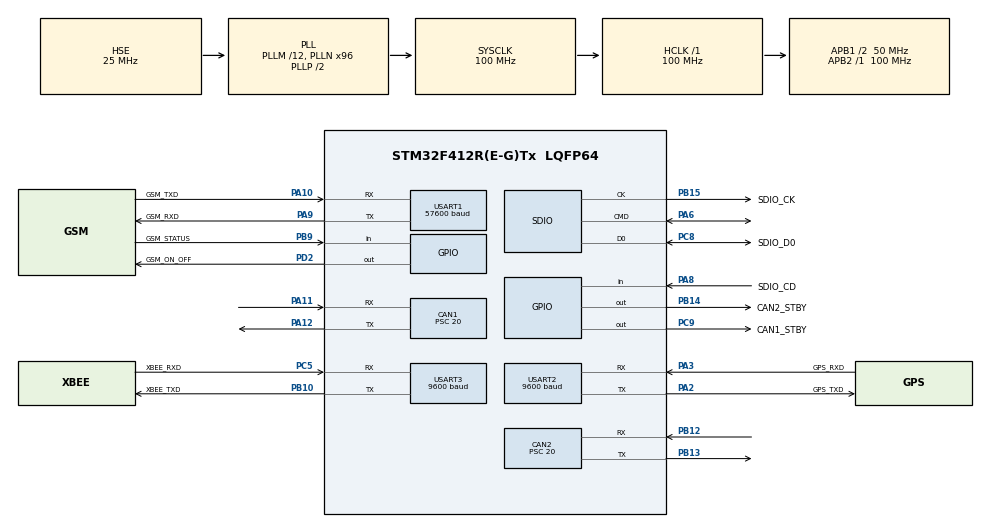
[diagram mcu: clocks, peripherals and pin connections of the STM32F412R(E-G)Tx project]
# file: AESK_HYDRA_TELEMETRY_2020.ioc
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CAN1.ABOM=ENABLE
CAN1.BS1=CAN_BS1_8TQ
CAN1.CalculateTimeQuantum=400.0
CAN1.Prescaler=20
CAN2.ABOM=ENABLE
CAN2.BS1=CAN_BS1_8TQ
CAN2.CalculateTimeQuantum=400.0
CAN2.Prescaler=20
Dma.Request0=SDIO_TX
Dma.Request1=SDIO_RX
Dma.SDIO_RX.1.Direction=DMA_PERIPH_TO_MEMORY
Dma.SDIO_RX.1.FIFOMode=DMA_FIFOMODE_ENABLE
Dma.SDIO_RX.1.FIFOThreshold=DMA_FIFO_THRESHOLD_FULL
Dma.SDIO_RX.1.Instance=DMA2_Stream6
Dma.SDIO_RX.1.MemBurst=DMA_MBURST_INC4
Dma.SDIO_RX.1.MemDataAlignment=DMA_MDATAALIGN_WORD
Dma.SDIO_RX.1.MemInc=DMA_MINC_ENABLE
Dma.SDIO_RX.1.Mode=DMA_PFCTRL
Dma.SDIO_RX.1.PeriphBurst=DMA_PBURST_INC4
Dma.SDIO_RX.1.PeriphDataAlignment=DMA_PDATAALIGN_WORD
Dma.SDIO_RX.1.PeriphInc=DMA_PINC_DISABLE
Dma.SDIO_RX.1.Priority=DMA_PRIORITY_LOW
Dma.SDIO_TX.0.Direction=DMA_MEMORY_TO_PERIPH
Dma.SDIO_TX.0.FIFOMode=DMA_FIFOMODE_ENABLE
Dma.SDIO_TX.0.FIFOThreshold=DMA_FIFO_THRESHOLD_FULL
Dma.SDIO_TX.0.Instance=DMA2_Stream3
Dma.SDIO_TX.0.MemBurst=DMA_MBURST_INC4
Dma.SDIO_TX.0.MemDataAlignment=DMA_MDATAALIGN_WORD
Dma.SDIO_TX.0.MemInc=DMA_MINC_ENABLE
Dma.SDIO_TX.0.Mode=DMA_PFCTRL
Dma.SDIO_TX.0.PeriphBurst=DMA_PBURST_INC4
Dma.SDIO_TX.0.PeriphDataAlignment=DMA_PDATAALIGN_WORD
Dma.SDIO_TX.0.PeriphInc=DMA_PINC_DISABLE
Dma.SDIO_TX.0.Priority=DMA_PRIORITY_LOW
FATFS._MAX_SS=4096
Mcu.Family=STM32F4
Mcu.Name=STM32F412R(E-G)Tx
Mcu.Package=LQFP64
NVIC.CAN1_RX0_IRQn=true\:0\:0\:false\:false\:true\:true\:true
NVIC.CAN1_RX1_IRQn=true\:0\:0\:false\:false\:true\:true\:true
NVIC.CAN2_RX0_IRQn=true\:0\:0\:false\:false\:true\:true\:true
NVIC.CAN2_RX1_IRQn=true\:0\:0\:false\:false\:true\:true\:true
NVIC.DMA2_Stream3_IRQn=true\:0\:0\:false\:false\:true\:false\:true
NVIC.DMA2_Stream6_IRQn=true\:0\:0\:false\:false\:true\:false\:true
NVIC.PriorityGroup=NVIC_PRIORITYGROUP_4
NVIC.SDIO_IRQn=true\:0\:0\:false\:false\:true\:true\:true
NVIC.USART1_IRQn=true\:1\:0\:true\:false\:true\:true\:true
NVIC.USART2_IRQn=true\:1\:0\:true\:false\:true\:true\:true
NVIC.USART3_IRQn=true\:3\:0\:true\:false\:true\:true\:true
PA10.GPIO_Label=GSM_TXD
PA10.Mode=Asynchronous
PA10.Signal=USART1_RX
PA11.Mode=Master
PA11.Signal=CAN1_RX
PA12.Mode=Master
PA12.Signal=CAN1_TX
PA13.Mode=Serial_Wire
PA13.Signal=SYS_JTMS-SWDIO
PA14.Mode=Serial_Wire
PA14.Signal=SYS_JTCK-SWCLK
PA2.GPIO_Label=GPS_TXD
PA2.Mode=Asynchronous
PA2.Signal=USART2_TX
PA3.GPIO_Label=GPS_RXD
PA3.Mode=Asynchronous
PA3.Signal=USART2_RX
PA6.Mode=SD_1_bit
PA6.Signal=SDIO_CMD
PA8.GPIO_Label=SDIO_CD
PA8.Signal=GPIO_Input
PA9.GPIO_Label=GSM_RXD
PA9.Mode=Asynchronous
PA9.Signal=USART1_TX
PB10.GPIO_Label=XBEE_TXD
PB10.Mode=Asynchronous
PB10.Signal=USART3_TX
PB12.Mode=Slave
PB12.Signal=CAN2_RX
PB13.Mode=Slave
PB13.Signal=CAN2_TX
PB14.GPIO_Label=CAN2_STBY
PB14.Signal=GPIO_Output
PB15.GPIO_Label=SDIO_CK
PB15.Mode=SD_1_bit
PB15.Signal=SDIO_CK
PB9.GPIO_Label=GSM_STATUS
PB9.GPIO_PuPd=GPIO_PULLDOWN
PB9.Signal=GPIO_Input
PC14-OSC32_IN.Mode=LSE-External-Oscillator
PC14-OSC32_IN.Signal=RCC_OSC32_IN
PC15-OSC32_OUT.Mode=LSE-External-Oscillator
PC15-OSC32_OUT.Signal=RCC_OSC32_OUT
PC5.GPIO_Label=XBEE_RXD
PC5.Mode=Asynchronous
PC5.Signal=USART3_RX
PC8.GPIO_Label=SDIO_D0
PC8.Mode=SD_1_bit
PC8.Signal=SDIO_D0
PC9.GPIO_Label=CAN1_STBY
PC9.Signal=GPIO_Output
PD2.GPIO_Label=GSM_ON_OFF
PD2.Signal=GPIO_Output
PH0\ -\ OSC_IN.Mode=HSE-External-Oscillator
PH0\ -\ OSC_IN.Signal=RCC_OSC_IN
PH1\ -\ OSC_OUT.Mode=HSE-External-Oscillator
PH1\ -\ OSC_OUT.Signal=RCC_OSC_OUT
ProjectManager.HeapSize=0x200
ProjectManager.StackSize=0x400
ProjectManager.TargetToolchain=SW4STM32
RCC.AHBFreq_Value=100000000
RCC.APB1CLKDivider=RCC_HCLK_DIV2
RCC.APB1Freq_Value=50000000
RCC.APB1TimFreq_Value=100000000
RCC.APB2Freq_Value=100000000
RCC.APB2TimFreq_Value=100000000
RCC.CortexFreq_Value=100000000
RCC.HCLKFreq_Value=100000000
RCC.PLLM=12
RCC.PLLN=96
RCC.PLLQ=4
RCC.PLLSourceVirtual=RCC_PLLSOURCE_HSE
RCC.RCC_RTC_Clock_Source=RCC_RTCCLKSOURCE_LSE
RCC.RCC_RTC_Clock_SourceVirtual=RCC_RTCCLKSOURCE_LSE
RCC.SYSCLKFreq_VALUE=100000000
RCC.SYSCLKSource=RCC_SYSCLKSOURCE_PLLCLK
RCC.USBFreq_Value=50000000
RCC.VCOOutputFreq_Value=200000000
TIM6.Period=99
TIM6.Prescaler=999
USART1.BaudRate=57600
USART1.VirtualMode=VM_ASYNC
USART2.BaudRate=9600
USART2.VirtualMode=VM_ASYNC
USART3.BaudRate=9600
USART3.VirtualMode=VM_ASYNC
VP_FATFS_VS_SDIO.Mode=SDIO
VP_RTC_VS_RTC_Activate.Mode=RTC_Enabled
VP_TIM6_VS_ClockSourceINT.Mode=Enable_Timer
board=custom

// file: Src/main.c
/* USER CODE BEGIN Header */
/**
  ******************************************************************************
  * @file           : main.c
  * @brief          : Main program body
  ******************************************************************************
  * @attention
  *
  * <h2><center>&copy; Copyright (c) 2020 STMicroelectronics.
  * All rights reserved.</center></h2>
  *
  * This software component is licensed by ST under Ultimate Liberty license
  * SLA0044, the "License"; You may not use this file except in compliance with
  * the License. You may obtain a copy of the License at:
  *                             www.st.com/SLA0044
  *
  ******************************************************************************
  */
/* USER CODE END Header */

#include "main.h"
#include "fatfs.h"

/* USER CODE BEGIN Includes */
#include "stdio.h"
#include "SIM800MQTT.h"
#include "AESK_CAN_Library.h"
#include "AESK_Gps_lib.h"
#include "TelemetryGlobalvar.h"
#include "Can_Hydra_Header.h"
#include "AESK_Data_Pack_lib.h"
#include "stdarg.h"
/* USER CODE END Includes */

CAN_HandleTypeDef hcan1;
CAN_HandleTypeDef hcan2;

RTC_HandleTypeDef hrtc;

SD_HandleTypeDef hsd;
DMA_HandleTypeDef hdma_sdio_tx;
DMA_HandleTypeDef hdma_sdio_rx;

TIM_HandleTypeDef htim6;

UART_HandleTypeDef huart1;
UART_HandleTypeDef huart2;
UART_HandleTypeDef huart3;

/* USER CODE BEGIN PV */
int SetTime = 0;
int SetDate = 0;

Time_Task_union time_task;
Xbee_Datas xbee_data;
Gsm_Datas gsm_data;
MQTTPacket_connectData connectData = MQTTPacket_connectData_initializer;
MQTTString topicString = MQTTString_initializer;
HydraDatas hydradata;
Sd_Card_Datas sd_card_data;
GPS_Handle gps_data;

RTC_TimeTypeDef rtctime;
RTC_DateTypeDef rtcdate;

RTC_TimeTypeDef sTime;
RTC_DateTypeDef sDate;
/* USER CODE END PV */

void SystemClock_Config(void);
static void MX_GPIO_Init(void);
static void MX_DMA_Init(void);
static void MX_CAN1_Init(void);
static void MX_CAN2_Init(void);
static void MX_RTC_Init(void);
static void MX_SDIO_SD_Init(void);
static void MX_TIM6_Init(void);
static void MX_USART1_UART_Init(void);
static void MX_USART2_UART_Init(void);
static void MX_USART3_UART_Init(void);
/* USER CODE BEGIN PFP */
void Gsm_Calibration(Gsm_Datas* gsm_data);
void createMQTTPackage(HydraDatas *hydradata, GPS_Handle*gps_data, uint8_t* packBuf, uint16_t *index);
void RTC_Set_Time_Date();
void vars_to_str(char *buffer, const char *format, ...);
/* USER CODE END PFP */

int main(void)
{

  /* MCU Configuration--------------------------------------------------------*/

  /* Reset of all peripherals, Initializes the Flash interface and the Systick. */
  HAL_Init();

  /* Configure the system clock */
  SystemClock_Config();

  /* Initialize all configured peripherals */
  MX_GPIO_Init();
  MX_DMA_Init();
  MX_CAN1_Init();
  MX_CAN2_Init();
  MX_RTC_Init();
  MX_SDIO_SD_Init();
  MX_TIM6_Init();
  MX_USART1_UART_Init();
  MX_USART2_UART_Init();
  MX_USART3_UART_Init();
  MX_FATFS_Init();
  /* USER CODE BEGIN 2 */
  gsm_data.gsm_uart = &huart1;
    MX_RTC_Init();
    RTC_Set_Time_Date();

    if(f_mount(&sd_card_data.myFATAFS,(TCHAR const *)SDPath, 1) == FR_OK)
    {
 	   HAL_RTC_GetTime(&hrtc, &sTime, RTC_FORMAT_BIN);
 	   HAL_RTC_GetDate(&hrtc, &sDate, RTC_FORMAT_BIN);
 	   vars_to_str(sd_card_data.path, "%d_%d_%d_%d_%d_%d_(%d).txt", sDate.Date, sDate.Month, sDate.Year, sTime.Hours, sTime.Minutes, sTime.Seconds, sd_card_data.logger_u32);
 	   sd_card_data.state = SD_Card_Detect;
    }

    if((GSM_STATUS_GPIO_Port->IDR & GSM_STATUS_Pin) == (uint32_t)GPIO_PIN_RESET)
    {
 		GSM_ON_OFF_GPIO_Port->BSRR = GSM_ON_OFF_Pin;
 	    HAL_Delay(1500);
 	    GSM_ON_OFF_GPIO_Port->BSRR = GSM_ON_OFF_Pin << 16U;
    }

    else
    {
 	   HAL_UART_Transmit(gsm_data.gsm_uart, (uint8_t*)RESET_AT_COMMAND, (uint16_t)strlen(RESET_AT_COMMAND), HAL_DELAY);
    }

    while((GSM_STATUS_GPIO_Port->IDR & GSM_STATUS_Pin) == (uint32_t)GPIO_PIN_RESET)
    {
 	   ;
    }

     HAL_UART_Receive_IT(gsm_data.gsm_uart, &gsm_data.receivegsmdata, 1);
     HAL_UART_Receive_IT(&huart3, &xbee_data.receiveData, 1);
     HAL_UART_Receive_IT(&huart2, &gps_data.uartReceiveData_u8, 1);
     HAL_TIM_Base_Start_IT(&htim6);
  /* USER CODE END 2 */

  /* Infinite loop */
  while (1)
  {

    /* USER CODE BEGIN 3 */
	  if(time_task.Time_Task.Task_60_ms == TRUE)
	  {
		  Gsm_Calibration(&gsm_data);
		  time_task.Time_Task.Task_60_ms = FALSE;
	  }

	  if(time_task.Time_Task.Task_50_ms == TRUE)
	  {
		  if(sd_card_data.state == SD_Card_Detect)
		  {

			  HAL_RTC_GetTime(&hrtc, &sTime, RTC_FORMAT_BIN);
			  HAL_RTC_GetDate(&hrtc, &sDate, RTC_FORMAT_BIN);
			  vars_to_str((char *)sd_card_data.transmitBuf, "%d$%d$%d$%.2f$%.2f$%.2f$%.1f$%.2f$%.2f$%.2f$%.2f$%d$%d$%d$%d$%d$%.1f$%.2f$%.1f$%.2f$%d$%d$%.1f$%d$%d$%.6f$%.6f$%d$%d$%d$%d$%d$%.1f$%.1f$%.1f$%.1f$%.1f$%.1f$%.1f$%.1f$%.1f$%.1f$%d$%.2f$%u$%u\n",
					  hydradata.vcu_data.wake_up_union.wake_up_u8, hydradata.vcu_data.drive_command_union.drive_command_u8, hydradata.vcu_data.set_velocity_u8,
					  hydradata.driver_data.Phase_A_Current_f32, hydradata.driver_data.Phase_B_Current_f32, hydradata.driver_data.Dc_Bus_Current_f32,
					  hydradata.driver_data.Dc_Bus_voltage_f32, hydradata.driver_data.Id_f32, hydradata.driver_data.Iq_f32, hydradata.driver_data.Vd_f32, hydradata.driver_data.Vq_f32,
					  hydradata.driver_data.drive_status_union.drive_status_u8, hydradata.driver_data.driver_error_union.driver_error_u8, hydradata.driver_data.Odometer_u32,
					  hydradata.driver_data.Motor_Temperature_u8, hydradata.driver_data.actual_velocity_u8, hydradata.bms_data.Bat_Voltage_f32,
					  hydradata.bms_data.Bat_Current_f32, hydradata.bms_data.Bat_Cons_f32, hydradata.bms_data.Soc_f32, hydradata.bms_data.bms_error.bms_error_u8,
					  hydradata.bms_data.dc_bus_state.dc_bus_state_u8, hydradata.bms_data.Worst_Cell_Voltage_f32, hydradata.bms_data.Worst_Cell_Address_u8,
					  hydradata.bms_data.Temperature_u8, gps_data.latitude_f32, gps_data.longtitude_f32, gps_data.speed_u8, gps_data.satellite_number_u8, gps_data.gpsEfficiency_u8,
					  gps_data.gps_errorhandler.trueData_u32, gps_data.gps_errorhandler.checksumError_u32, gps_data.gps_errorhandler.validDataError_u32, hydradata.ems_datas.Bat_Current_f32,
					  hydradata.ems_datas.FC_Current_f32, hydradata.ems_datas.Out_Current_f32, hydradata.ems_datas.Bat_Voltage_f32, hydradata.ems_datas.FC_Voltage_f32, hydradata.ems_datas.Out_Voltage_f32,
					  hydradata.ems_datas.Bat_Cons_f32, hydradata.ems_datas.FC_Cons_f32, hydradata.ems_datas.FC_Lt_Cons_f32, hydradata.ems_datas.Out_Cons_f32, hydradata.ems_datas.Penalty_s8,
					  hydradata.ems_datas.Bat_Soc_f32, hydradata.ems_datas.Temperature_u8, hydradata.ems_datas.ems_state.ems_error_u8);
			  vars_to_str((char *)sd_card_data.total_log, "%d:%d:%d$", sTime.Hours, sTime.Minutes, sTime.Seconds);
			  strcat(sd_card_data.total_log, (const char*)sd_card_data.transmitBuf);
			  sd_card_data.result = f_open(&sd_card_data.myFile, sd_card_data.path, FA_WRITE | FA_OPEN_APPEND | FA_OPEN_EXISTING | FA_OPEN_ALWAYS);
			  f_write(&sd_card_data.myFile, sd_card_data.total_log, strlen(sd_card_data.total_log), (void*)&sd_card_data.writtenbyte);
			  if((sd_card_data.writtenbyte != 0) && (sd_card_data.result == FR_OK))
			  {
				  f_close(&sd_card_data.myFile);
				  SetTime++;
			  }

			  else
			  {
				  if(f_mount(&sd_card_data.myFATAFS,(TCHAR const *)SDPath, 1) == FR_OK)
				  {
					  sd_card_data.logger_u32++;
					  HAL_RTC_GetTime(&hrtc, &sTime, RTC_FORMAT_BIN);
					  HAL_RTC_GetDate(&hrtc, &sDate, RTC_FORMAT_BIN);
					  vars_to_str(sd_card_data.path, "%d_%d_%d_(%d).txt", sDate.Date, sDate.Month, sDate.Year, sd_card_data.logger_u32);
					  sd_card_data.state = SD_Card_Detect;
				  }
			  }
			}
	 		time_task.Time_Task.Task_50_ms = FALSE;
	 }
  }
  /* USER CODE END 3 */
}

void SystemClock_Config(void)
{
  RCC_OscInitTypeDef RCC_OscInitStruct = {0};
  RCC_ClkInitTypeDef RCC_ClkInitStruct = {0};
  RCC_PeriphCLKInitTypeDef PeriphClkInitStruct = {0};

  /** Configure the main internal regulator output voltage
  */
  __HAL_RCC_PWR_CLK_ENABLE();
  __HAL_PWR_VOLTAGESCALING_CONFIG(PWR_REGULATOR_VOLTAGE_SCALE1);
  /** Initializes the CPU, AHB and APB busses clocks
  */
  RCC_OscInitStruct.OscillatorType = RCC_OSCILLATORTYPE_HSE|RCC_OSCILLATORTYPE_LSE;
  RCC_OscInitStruct.HSEState = RCC_HSE_ON;
  RCC_OscInitStruct.LSEState = RCC_LSE_ON;
  RCC_OscInitStruct.PLL.PLLState = RCC_PLL_ON;
  RCC_OscInitStruct.PLL.PLLSource = RCC_PLLSOURCE_HSE;
  RCC_OscInitStruct.PLL.PLLM = 12;
  RCC_OscInitStruct.PLL.PLLN = 96;
  RCC_OscInitStruct.PLL.PLLP = RCC_PLLP_DIV2;
  RCC_OscInitStruct.PLL.PLLQ = 4;
  RCC_OscInitStruct.PLL.PLLR = 2;
  if (HAL_RCC_OscConfig(&RCC_OscInitStruct) != HAL_OK)
  {
    Error_Handler();
  }
  /** Initializes the CPU, AHB and APB busses clocks
  */
  RCC_ClkInitStruct.ClockType = RCC_CLOCKTYPE_HCLK|RCC_CLOCKTYPE_SYSCLK
                              |RCC_CLOCKTYPE_PCLK1|RCC_CLOCKTYPE_PCLK2;
  RCC_ClkInitStruct.SYSCLKSource = RCC_SYSCLKSOURCE_PLLCLK;
  RCC_ClkInitStruct.AHBCLKDivider = RCC_SYSCLK_DIV1;
  RCC_ClkInitStruct.APB1CLKDivider = RCC_HCLK_DIV2;
  RCC_ClkInitStruct.APB2CLKDivider = RCC_HCLK_DIV1;

  if (HAL_RCC_ClockConfig(&RCC_ClkInitStruct, FLASH_LATENCY_3) != HAL_OK)
  {
    Error_Handler();
  }
  PeriphClkInitStruct.PeriphClockSelection = RCC_PERIPHCLK_RTC|RCC_PERIPHCLK_SDIO
                              |RCC_PERIPHCLK_CLK48;
  PeriphClkInitStruct.RTCClockSelection = RCC_RTCCLKSOURCE_LSE;
  PeriphClkInitStruct.Clk48ClockSelection = RCC_CLK48CLKSOURCE_PLLQ;
  PeriphClkInitStruct.SdioClockSelection = RCC_SDIOCLKSOURCE_CLK48;
  if (HAL_RCCEx_PeriphCLKConfig(&PeriphClkInitStruct) != HAL_OK)
  {
    Error_Handler();
  }
}

static void MX_CAN1_Init(void)
{

  hcan1.Instance = CAN1;
  hcan1.Init.Prescaler = 20;
  hcan1.Init.Mode = CAN_MODE_NORMAL;
  hcan1.Init.SyncJumpWidth = CAN_SJW_1TQ;
  hcan1.Init.TimeSeg1 = CAN_BS1_8TQ;
  hcan1.Init.TimeSeg2 = CAN_BS2_1TQ;
  hcan1.Init.TimeTriggeredMode = DISABLE;
  hcan1.Init.AutoBusOff = ENABLE;
  hcan1.Init.AutoWakeUp = DISABLE;
  hcan1.Init.AutoRetransmission = DISABLE;
  hcan1.Init.ReceiveFifoLocked = DISABLE;
  hcan1.Init.TransmitFifoPriority = DISABLE;
  if (HAL_CAN_Init(&hcan1) != HAL_OK)
  {
    Error_Handler();
  }

}

static void MX_CAN2_Init(void)
{

  hcan2.Instance = CAN2;
  hcan2.Init.Prescaler = 20;
  hcan2.Init.Mode = CAN_MODE_NORMAL;
  hcan2.Init.SyncJumpWidth = CAN_SJW_1TQ;
  hcan2.Init.TimeSeg1 = CAN_BS1_8TQ;
  hcan2.Init.TimeSeg2 = CAN_BS2_1TQ;
  hcan2.Init.TimeTriggeredMode = DISABLE;
  hcan2.Init.AutoBusOff = ENABLE;
  hcan2.Init.AutoWakeUp = DISABLE;
  hcan2.Init.AutoRetransmission = DISABLE;
  hcan2.Init.ReceiveFifoLocked = DISABLE;
  hcan2.Init.TransmitFifoPriority = DISABLE;
  if (HAL_CAN_Init(&hcan2) != HAL_OK)
  {
    Error_Handler();
  }

}

static void MX_RTC_Init(void)
{

  /** Initialize RTC Only
  */
  hrtc.Instance = RTC;
  hrtc.Init.HourFormat = RTC_HOURFORMAT_24;
  hrtc.Init.AsynchPrediv = 127;
  hrtc.Init.SynchPrediv = 255;
  hrtc.Init.OutPut = RTC_OUTPUT_DISABLE;
  hrtc.Init.OutPutPolarity = RTC_OUTPUT_POLARITY_HIGH;
  hrtc.Init.OutPutType = RTC_OUTPUT_TYPE_OPENDRAIN;
  if (HAL_RTC_Init(&hrtc) != HAL_OK)
  {
    Error_Handler();
  }

}

static void MX_SDIO_SD_Init(void)
{

  hsd.Instance = SDIO;
  hsd.Init.ClockEdge = SDIO_CLOCK_EDGE_RISING;
  hsd.Init.ClockBypass = SDIO_CLOCK_BYPASS_DISABLE;
  hsd.Init.ClockPowerSave = SDIO_CLOCK_POWER_SAVE_DISABLE;
  hsd.Init.BusWide = SDIO_BUS_WIDE_1B;
  hsd.Init.HardwareFlowControl = SDIO_HARDWARE_FLOW_CONTROL_DISABLE;
  hsd.Init.ClockDiv = 0;

}

static void MX_TIM6_Init(void)
{

  TIM_MasterConfigTypeDef sMasterConfig = {0};

  htim6.Instance = TIM6;
  htim6.Init.Prescaler = 999;
  htim6.Init.CounterMode = TIM_COUNTERMODE_UP;
  htim6.Init.Period = 99;
  htim6.Init.AutoReloadPreload = TIM_AUTORELOAD_PRELOAD_DISABLE;
  if (HAL_TIM_Base_Init(&htim6) != HAL_OK)
  {
    Error_Handler();
  }
  sMasterConfig.MasterOutputTrigger = TIM_TRGO_RESET;
  sMasterConfig.MasterSlaveMode = TIM_MASTERSLAVEMODE_DISABLE;
  if (HAL_TIMEx_MasterConfigSynchronization(&htim6, &sMasterConfig) != HAL_OK)
  {
    Error_Handler();
  }

}

static void MX_USART1_UART_Init(void)
{

  huart1.Instance = USART1;
  huart1.Init.BaudRate = 57600;
  huart1.Init.WordLength = UART_WORDLENGTH_8B;
  huart1.Init.StopBits = UART_STOPBITS_1;
  huart1.Init.Parity = UART_PARITY_NONE;
  huart1.Init.Mode = UART_MODE_TX_RX;
  huart1.Init.HwFlowCtl = UART_HWCONTROL_NONE;
  huart1.Init.OverSampling = UART_OVERSAMPLING_16;
  if (HAL_UART_Init(&huart1) != HAL_OK)
  {
    Error_Handler();
  }

}

static void MX_USART2_UART_Init(void)
{

  huart2.Instance = USART2;
  huart2.Init.BaudRate = 9600;
  huart2.Init.WordLength = UART_WORDLENGTH_8B;
  huart2.Init.StopBits = UART_STOPBITS_1;
  huart2.Init.Parity = UART_PARITY_NONE;
  huart2.Init.Mode = UART_MODE_TX_RX;
  huart2.Init.HwFlowCtl = UART_HWCONTROL_NONE;
  huart2.Init.OverSampling = UART_OVERSAMPLING_16;
  if (HAL_UART_Init(&huart2) != HAL_OK)
  {
    Error_Handler();
  }

}

static void MX_USART3_UART_Init(void)
{

  huart3.Instance = USART3;
  huart3.Init.BaudRate = 9600;
  huart3.Init.WordLength = UART_WORDLENGTH_8B;
  huart3.Init.StopBits = UART_STOPBITS_1;
  huart3.Init.Parity = UART_PARITY_NONE;
  huart3.Init.Mode = UART_MODE_TX_RX;
  huart3.Init.HwFlowCtl = UART_HWCONTROL_NONE;
  huart3.Init.OverSampling = UART_OVERSAMPLING_16;
  if (HAL_UART_Init(&huart3) != HAL_OK)
  {
    Error_Handler();
  }

}

static void MX_DMA_Init(void)
{

  /* DMA controller clock enable */
  __HAL_RCC_DMA2_CLK_ENABLE();

  /* DMA interrupt init */
  /* DMA2_Stream3_IRQn interrupt configuration */
  HAL_NVIC_SetPriority(DMA2_Stream3_IRQn, 0, 0);
  HAL_NVIC_EnableIRQ(DMA2_Stream3_IRQn);
  /* DMA2_Stream6_IRQn interrupt configuration */
  HAL_NVIC_SetPriority(DMA2_Stream6_IRQn, 0, 0);
  HAL_NVIC_EnableIRQ(DMA2_Stream6_IRQn);

}

static void MX_GPIO_Init(void)
{
  GPIO_InitTypeDef GPIO_InitStruct = {0};

  /* GPIO Ports Clock Enable */
  __HAL_RCC_GPIOC_CLK_ENABLE();
  __HAL_RCC_GPIOH_CLK_ENABLE();
  __HAL_RCC_GPIOA_CLK_ENABLE();
  __HAL_RCC_GPIOB_CLK_ENABLE();
  __HAL_RCC_GPIOD_CLK_ENABLE();

  /*Configure GPIO pin Output Level */
  HAL_GPIO_WritePin(CAN2_STBY_GPIO_Port, CAN2_STBY_Pin, GPIO_PIN_RESET);

  /*Configure GPIO pin Output Level */
  HAL_GPIO_WritePin(CAN1_STBY_GPIO_Port, CAN1_STBY_Pin, GPIO_PIN_RESET);

  /*Configure GPIO pin Output Level */
  HAL_GPIO_WritePin(GSM_ON_OFF_GPIO_Port, GSM_ON_OFF_Pin, GPIO_PIN_RESET);

  /*Configure GPIO pin : CAN2_STBY_Pin */
  GPIO_InitStruct.Pin = CAN2_STBY_Pin;
  GPIO_InitStruct.Mode = GPIO_MODE_OUTPUT_PP;
  GPIO_InitStruct.Pull = GPIO_NOPULL;
  GPIO_InitStruct.Speed = GPIO_SPEED_FREQ_LOW;
  HAL_GPIO_Init(CAN2_STBY_GPIO_Port, &GPIO_InitStruct);

  /*Configure GPIO pin : CAN1_STBY_Pin */
  GPIO_InitStruct.Pin = CAN1_STBY_Pin;
  GPIO_InitStruct.Mode = GPIO_MODE_OUTPUT_PP;
  GPIO_InitStruct.Pull = GPIO_NOPULL;
  GPIO_InitStruct.Speed = GPIO_SPEED_FREQ_LOW;
  HAL_GPIO_Init(CAN1_STBY_GPIO_Port, &GPIO_InitStruct);

  /*Configure GPIO pin : SDIO_CD_Pin */
  GPIO_InitStruct.Pin = SDIO_CD_Pin;
  GPIO_InitStruct.Mode = GPIO_MODE_INPUT;
  GPIO_InitStruct.Pull = GPIO_NOPULL;
  HAL_GPIO_Init(SDIO_CD_GPIO_Port, &GPIO_InitStruct);

  /*Configure GPIO pin : GSM_ON_OFF_Pin */
  GPIO_InitStruct.Pin = GSM_ON_OFF_Pin;
  GPIO_InitStruct.Mode = GPIO_MODE_OUTPUT_PP;
  GPIO_InitStruct.Pull = GPIO_NOPULL;
  GPIO_InitStruct.Speed = GPIO_SPEED_FREQ_LOW;
  HAL_GPIO_Init(GSM_ON_OFF_GPIO_Port, &GPIO_InitStruct);

  /*Configure GPIO pin : GSM_STATUS_Pin */
  GPIO_InitStruct.Pin = GSM_STATUS_Pin;
  GPIO_InitStruct.Mode = GPIO_MODE_INPUT;
  GPIO_InitStruct.Pull = GPIO_PULLDOWN;
  HAL_GPIO_Init(GSM_STATUS_GPIO_Port, &GPIO_InitStruct);

}

/* USER CODE BEGIN 4 */
void HAL_TIM_PeriodElapsedCallback(TIM_HandleTypeDef *htim)
{
	static uint32_t  task_counter_50_ms = 0;
	static uint32_t task_counter_60_ms = 0;
	task_counter_60_ms++;
	task_counter_50_ms++;

	if(task_counter_50_ms == 50)
	{
		time_task.Time_Task.Task_50_ms = TRUE;
		task_counter_50_ms = 0;
	}

	if(task_counter_60_ms == 60)
	{
		time_task.Time_Task.Task_60_ms = TRUE;
		task_counter_60_ms = 0;
	}
}

void HAL_UART_RxCpltCallback(UART_HandleTypeDef *huart)
{
	switch((uint32_t)huart->Instance)
	{

		case (uint32_t)USART1 :
		{
			static uint8_t cifsr_control = 0;

			gsm_data.gsmreceivebuffer[gsm_data.gsmreceivebuffer_index++] = gsm_data.receivegsmdata;
			if(gsm_data.gsm_state_next_index != CreateMQTTPublishPack && (strstr((const char *)gsm_data.gsmreceivebuffer, gsm_data.at_response) != NULL))
			{
				gsm_data.gsm_state_current_index = gsm_data.gsm_state_next_index;
				memset(gsm_data.gsmreceivebuffer, 0, sizeof(gsm_data.gsmreceivebuffer));
				gsm_data.gsmreceivebuffer_index = 0;
			}

			else if(gsm_data.gsm_state_next_index == CreateMQTTPublishPack && (strstr((const char *)gsm_data.gsmreceivebuffer, "SE") != NULL))
			{
				gsm_data.gsm_state_current_index = gsm_data.gsm_state_next_index;
				memset(gsm_data.gsmreceivebuffer, 0, sizeof(gsm_data.gsmreceivebuffer));
				gsm_data.gsmreceivebuffer_index = 0;
			}

			else if(strstr((const char *)gsm_data.gsmreceivebuffer, (const char *)"ERROR") != NULL)
			{
				gsm_data.gsm_state_current_index = gsm_data.gsm_state_next_index - 1;
				memset(gsm_data.gsmreceivebuffer, 0, sizeof(gsm_data.gsmreceivebuffer));
				gsm_data.gsmreceivebuffer_index = 0;
			}

			if(gsm_data.receivegsmdata =='.')
			{
				cifsr_control++;
			}

			if(cifsr_control == 3 && gsm_data.receivegsmdata == '\n')
			{
				gsm_data.gsm_state_current_index = gsm_data.gsm_state_next_index;
				memset(gsm_data.gsmreceivebuffer, 0, sizeof(gsm_data.gsmreceivebuffer));
				gsm_data.gsmreceivebuffer_index = 0;
				cifsr_control = 0;
			}

			if(gsm_data.gsm_state_next_index == SendMQTTPublishPack && gsm_data.receivegsmdata == '>')
			{

				gsm_data.gsm_state_current_index = gsm_data.gsm_state_next_index;
				memset(gsm_data.gsmreceivebuffer, 0, sizeof(gsm_data.gsmreceivebuffer));
				gsm_data.gsmreceivebuffer_index = 0;
			}

			if(gsm_data.gsmreceivebuffer_index == 31)
			{
				memset(gsm_data.gsmreceivebuffer, 0, sizeof(gsm_data.gsmreceivebuffer));
				gsm_data.gsmreceivebuffer_index = 0;
			}
			HAL_UART_Receive_IT(gsm_data.gsm_uart, &gsm_data.receivegsmdata, 1);
			break;
		}

		case (uint32_t)USART2 :
		{
			GPS_Control(&gps_data);
			HAL_UART_Receive_IT(&huart2, &gps_data.uartReceiveData_u8, 1);
			break;
		}

		case (uint32_t)USART3 :
		{
			switch(xbee_data.states)
			{
				case ID_Control :
				{
					if(xbee_data.receiveData == FIRST_CONTROL_BYTE)
					{
						xbee_data.states = Reset_Data_Control;
					}
				break;
				}
				case Reset_Data_Control:
				{
					if(xbee_data.receiveData == SECOND_CONTROL_BYTE)
					{
						xbee_data.states = End_Communication_Control_1;
					}
					else
					{
						xbee_data.states = Reset_Data_Control;
					}
					break;
				}
				case End_Communication_Control_1:
				{
					if(xbee_data.receiveData == FIRST_COMMAND)
					{
						xbee_data.states = End_Communication_Control_2;
					}
					else
					{
						xbee_data.states = Reset_Data_Control;
					}
					break;
				}

				case End_Communication_Control_2:
				{
					if(xbee_data.receiveData == SECOND_COMMAND)
					{
						gsm_data.gsm_state_current_index = GsmOnOffSet;
					}
					else
					{
						xbee_data.states = Reset_Data_Control;
					}
					break;
				}
			}
			HAL_UART_Receive_IT(&huart3, &xbee_data.receiveData, 1);
			break;
		}
	}
}

void Gsm_Calibration(Gsm_Datas* gsm_data)
{
	switch(gsm_data->gsm_state_current_index)
	{
		case SerialCommunicationControl :
		{
			SendATCommand(gsm_data, "AT\r\n", "OK\r\n");
			gsm_data->gsm_state_next_index = SerialEchoOff;
			gsm_data->gsm_state_current_index = SerialCommunicationControl;
			break;
		}

		case SerialEchoOff :
		{
			SendATCommand(gsm_data, "ATE0\r\n", "OK\r\n");
			gsm_data->gsm_state_next_index = DeactiveGPRS;
			gsm_data->gsm_state_current_index = EmptyState;
			break;
		}

		case DeactiveGPRS :
		{
			SendATCommand(gsm_data, "AT+CIPSHUT\r\n", "SHUT OK\r\n");
			gsm_data->gsm_state_next_index = ConnectGPRS;
			gsm_data->gsm_state_current_index = EmptyState;
			break;
		}

		case ConnectGPRS :
		{
			SendATCommand(gsm_data, "AT+CGATT=1\r\n", "OK\r\n");
			gsm_data->gsm_state_next_index = SetGPRSProfile;
			gsm_data->gsm_state_current_index = EmptyState;
			break;
		}

		case SetGPRSProfile :
		{
			SendATCommand(gsm_data, "AT+CSTT=\"internet\",\"\",\"\"\r\n", "OK\r\n");
			gsm_data->gsm_state_next_index = BringUPGPRS;
			gsm_data->gsm_state_current_index = EmptyState;
			break;
		}

		case BringUPGPRS :
		{
			SendATCommand(gsm_data, "AT+CIICR\r\n", "OK\r\n");
			gsm_data->gsm_state_next_index = LearnSIM800IP;
			gsm_data->gsm_state_current_index = EmptyState;
			break;
		}

		case LearnSIM800IP :
		{
			SendATCommand(gsm_data, "AT+CIFSR\r\n", "OK\r\n");
			gsm_data->gsm_state_next_index = StartTCPConnect;
			gsm_data->gsm_state_current_index = EmptyState;
			break;
		}

		case StartTCPConnect :
		{
			SendATCommand(gsm_data, "AT+CIPSTART=\"TCP\",\"157.230.29.63\",\"1883\"\r\n", "CONNECT OK\r\n");
			gsm_data->gsm_state_next_index = CreateMQTTConnectPack;
			gsm_data->gsm_state_current_index = EmptyState;
			break;
		}

		case CreateMQTTConnectPack :
		{
			char atcommand[255];
			connectData.username.cstring = MQTT_USERNAME;
			connectData.password.cstring = MQTT_PASSWORd;
			connectData.clientID.cstring = MQTT_CLIENT_ID;
			connectData.keepAliveInterval = 60;
			connectData.cleansession = SendMQTTConnectPack;
			gsm_data->len =  MQTTSerialize_connect((unsigned char *)gsm_data->gsmconnectpackage, (int)sizeof(gsm_data->gsmconnectpackage),&connectData);
			sprintf(atcommand,(const char*)"AT+CIPSEND=%d\r\n", gsm_data->len);
			SendATCommand(gsm_data, atcommand, "\r\n>");
			gsm_data->gsm_state_next_index = SendMQTTConnectPack;
			gsm_data->gsm_state_current_index = EmptyState;
			break;
		}

		case SendMQTTConnectPack :
		{
			gsm_data->at_response = "SEND OK\r\n";
			HAL_UART_Transmit(gsm_data->gsm_uart, (uint8_t *)gsm_data->gsmconnectpackage, gsm_data->len, HAL_DELAY);
			gsm_data->gsm_state_next_index = CreateMQTTPublishPack;
			gsm_data->gsm_state_current_index = EmptyState;
			break;
		}

		case CreateMQTTPublishPack :
		{

		    topicString.cstring = MQTT_TOPIC;
		    char atcommand[255];
		    uint16_t index = 0;
		    createMQTTPackage(&hydradata, &gps_data, gsm_data->MQTTPackage, &index);
		    gsm_data->mqtt_len = MQTTSerialize_publish(gsm_data->gsmpublishpackage, (int)sizeof(gsm_data->gsmpublishpackage), 0, 0, 0, 0, topicString, gsm_data->MQTTPackage, index);
			sprintf(atcommand,(const char*)"AT+CIPSEND=%d\r\n", gsm_data->mqtt_len);
			SendATCommand(gsm_data, atcommand, ">");
			gsm_data->gsm_state_next_index = SendMQTTPublishPack;
			gsm_data->gsm_state_current_index = EmptyState;
			break;
		}

		case SendMQTTPublishPack :
		{

			HAL_UART_Transmit(gsm_data->gsm_uart, (uint8_t *)gsm_data->gsmpublishpackage, gsm_data->mqtt_len, HAL_DELAY);
			gsm_data->gsm_state_current_index = CreateMQTTPublishPack;
			gsm_data->gsm_state_next_index = EmptyState;
			break;
		}

		case GsmOnOffSet :
		{
			HAL_UART_Transmit(gsm_data->gsm_uart, (uint8_t*)RESET_AT_COMMAND, (uint16_t)strlen(RESET_AT_COMMAND), HAL_DELAY);
			gsm_data->gsm_state_current_index = Gsm1500msWait;
			break;
		}

		case Gsm1500msWait :
		{
			if((GSM_STATUS_GPIO_Port->IDR & GSM_STATUS_Pin) == (uint32_t)GPIO_PIN_RESET)
			{
				gsm_data->gsm_state_current_index = Gsm1500msWait;
			}

			else
			{
				gsm_data->gsm_state_current_index = SerialCommunicationControl;
			}
			break;
		}
	}
}

void createMQTTPackage(HydraDatas *hydradata, GPS_Handle*gps_data, uint8_t* packBuf, uint16_t *index)
{
	AESK_UINT8toUINT8CODE(&hydradata->vcu_data.wake_up_union.wake_up_u8, packBuf, index);
	AESK_UINT8toUINT8CODE(&hydradata->vcu_data.drive_command_union.drive_command_u8, packBuf, index);
	AESK_UINT8toUINT8CODE(&hydradata->vcu_data.set_velocity_u8, packBuf, index);
	int16_t phase_a_current_s16 = (int16_t)(hydradata->driver_data.Phase_A_Current_f32 * FLOAT_CONVERTER_2);
	int16_t phase_b_current_s16 = (int16_t)(hydradata->driver_data.Phase_B_Current_f32 * FLOAT_CONVERTER_2);
	uint16_t dc_bus_voltage_u16 = (uint16_t)(hydradata->driver_data.Dc_Bus_voltage_f32 * FLOAT_CONVERTER_1);
	int16_t dc_bus_current_s16 = (int16_t)(hydradata->driver_data.Dc_Bus_Current_f32 * FLOAT_CONVERTER_2);
	int16_t id_f32 = (int16_t)(hydradata->driver_data.Id_f32 * FLOAT_CONVERTER_2);
	int16_t iq_f32 = (int16_t)(hydradata->driver_data.Iq_f32 * FLOAT_CONVERTER_2);
	int16_t vd_f32 = (int16_t)(hydradata->driver_data.Vd_f32 * FLOAT_CONVERTER_2);
	int16_t vq_f32 = (int16_t)(hydradata->driver_data.Vq_f32 * FLOAT_CONVERTER_2);
	AESK_INT16toUINT8_LE(&phase_a_current_s16, packBuf, index);
	AESK_INT16toUINT8_LE(&phase_b_current_s16, packBuf, index);
	AESK_INT16toUINT8_LE(&dc_bus_current_s16, packBuf, index);
	AESK_UINT16toUINT8_LE(&dc_bus_voltage_u16, packBuf, index);
	AESK_INT16toUINT8_LE(&id_f32, packBuf, index);
	AESK_INT16toUINT8_LE(&iq_f32, packBuf, index);
	AESK_INT16toUINT8_LE(&vd_f32, packBuf, index);
	AESK_INT16toUINT8_LE(&vq_f32, packBuf, index);
	AESK_UINT8toUINT8CODE(&(hydradata->driver_data.drive_status_union.drive_status_u8), packBuf, index);
	AESK_UINT8toUINT8CODE(&(hydradata->driver_data.driver_error_union.driver_error_u8), packBuf, index);
	AESK_UINT32toUINT8_LE(&(hydradata->driver_data.Odometer_u32), packBuf, index);
	AESK_UINT8toUINT8CODE(&(hydradata->driver_data.Motor_Temperature_u8), packBuf, index);
	AESK_UINT8toUINT8CODE(&(hydradata->driver_data.actual_velocity_u8), packBuf, index);
	uint16_t bat_volt_u16 = (uint16_t)(hydradata->bms_data.Bat_Voltage_f32 * FLOAT_CONVERTER_1);
	int16_t  bat_cur_s16 = (int16_t)(hydradata->bms_data.Bat_Current_f32 * FLOAT_CONVERTER_2);
	uint16_t bat_cons_u16 = (uint16_t)(hydradata->bms_data.Bat_Cons_f32 * FLOAT_CONVERTER_1);
	uint16_t soc_u16 = (uint16_t)(hydradata->bms_data.Soc_f32 * FLOAT_CONVERTER_2);
	uint16_t worst_cell_voltage_u16 = (uint16_t)(hydradata->bms_data.Worst_Cell_Voltage_f32 * FLOAT_CONVERTER_1);
	AESK_UINT16toUINT8_LE(&bat_volt_u16, packBuf, index);
	AESK_INT16toUINT8_LE(&bat_cur_s16, packBuf, index);
	AESK_UINT16toUINT8_LE(&bat_cons_u16, packBuf, index);
	AESK_UINT16toUINT8_LE(&soc_u16, packBuf, index);
	AESK_UINT8toUINT8CODE(&(hydradata->bms_data.bms_error.bms_error_u8), packBuf, index);
	AESK_UINT8toUINT8CODE(&(hydradata->bms_data.dc_bus_state.dc_bus_state_u8), packBuf, index);
	AESK_UINT16toUINT8_LE(&worst_cell_voltage_u16, packBuf, index);
	AESK_UINT8toUINT8CODE(&(hydradata->bms_data.Worst_Cell_Address_u8), packBuf, index);
	AESK_UINT8toUINT8CODE(&(hydradata->bms_data.Temperature_u8), packBuf, index);
	AESK_FLOAT32toUINT8_LE(&(gps_data->latitude_f32), packBuf, index);
	AESK_FLOAT32toUINT8_LE(&(gps_data->longtitude_f32), packBuf, index);
	AESK_UINT8toUINT8CODE(&(gps_data->speed_u8), packBuf, index);
	AESK_UINT8toUINT8CODE(&(gps_data->satellite_number_u8), packBuf, index);
	AESK_UINT8toUINT8CODE(&(gps_data->gpsEfficiency_u8), packBuf, index);
	int16_t   bat_current_s16 = (int16_t)(hydradata->ems_datas.Bat_Current_f32 * FLOAT_CONVERTER_1);
	int16_t   fc_current_s16 = (int16_t)(hydradata->ems_datas.FC_Current_f32 * FLOAT_CONVERTER_1);
	int16_t   out_current_s16 = (int16_t)(hydradata->ems_datas.Out_Current_f32 * FLOAT_CONVERTER_1);
	uint16_t  bat_voltage_u16 = (uint16_t)(hydradata->ems_datas.Bat_Voltage_f32 * FLOAT_CONVERTER_1);
	uint16_t  fc_voltage_u16 = (uint16_t)(hydradata->ems_datas.FC_Voltage_f32 * FLOAT_CONVERTER_1);
	uint16_t  out_voltage_u16 = (uint16_t)(hydradata->ems_datas.Out_Voltage_f32 * FLOAT_CONVERTER_1);
	uint16_t  bat_cons_ems_u16 = (uint16_t)(hydradata->ems_datas.Bat_Cons_f32 * FLOAT_CONVERTER_1);
	uint16_t  fc_cons_u16 = (uint16_t)(hydradata->ems_datas.FC_Cons_f32 * FLOAT_CONVERTER_1);
	uint16_t  fc_lt_cons_u16 = (uint16_t)(hydradata->ems_datas.FC_Lt_Cons_f32 * FLOAT_CONVERTER_1);
	uint16_t  out_cons_u16 = (uint16_t)(hydradata->ems_datas.Out_Cons_f32 * FLOAT_CONVERTER_1);
	uint16_t  bat_soc_u16 = (uint16_t)(hydradata->ems_datas.Bat_Soc_f32 * FLOAT_CONVERTER_2);
	AESK_INT16toUINT8_LE(&bat_current_s16, packBuf, index);
	AESK_INT16toUINT8_LE(&fc_current_s16, packBuf, index);
	AESK_INT16toUINT8_LE(&out_current_s16, packBuf, index);
	AESK_UINT16toUINT8_LE(&bat_voltage_u16, packBuf, index);
	AESK_UINT16toUINT8_LE(&fc_voltage_u16, packBuf, index);
	AESK_UINT16toUINT8_LE(&out_voltage_u16, packBuf, index);
	AESK_UINT16toUINT8_LE(&bat_cons_ems_u16, packBuf, index);
	AESK_UINT16toUINT8_LE(&fc_cons_u16, packBuf, index);
	AESK_UINT16toUINT8_LE(&fc_lt_cons_u16, packBuf, index);
	AESK_UINT16toUINT8_LE(&out_cons_u16, packBuf, index);
	AESK_INT8toUINT8CODE(&(hydradata->ems_datas.Penalty_s8), packBuf, index);
	AESK_UINT16toUINT8_LE(&bat_soc_u16, packBuf, index);
	AESK_UINT8toUINT8CODE(&(hydradata->ems_datas.Temperature_u8), packBuf, index);
	AESK_UINT8toUINT8CODE(&(hydradata->ems_datas.ems_state.ems_error_u8), packBuf, index);
	static uint32_t MQTT_Counter = 0;
	MQTT_Counter++;
	AESK_UINT32toUINT8_LE(&MQTT_Counter, packBuf, index);
}

void RTC_Set_Time_Date()
{
	if(SetTime == 1)
	{
	HAL_RTC_SetTime(&hrtc, &rtctime, RTC_FORMAT_BIN);
	SetTime = 0;
	}
	if(SetDate == 1)
	{
	HAL_RTC_SetDate(&hrtc, &rtcdate, RTC_FORMAT_BIN);
	SetDate = 0;
	}
}

void vars_to_str(char *buffer, const char *format, ...)
{
	va_list args;
	va_start (args, format);
	vsprintf (buffer, format, args);
	va_end (args);
}
/* USER CODE END 4 */

void Error_Handler(void)
{
}

/************************ (C) COPYRIGHT STMicroelectronics *****END OF FILE****/
